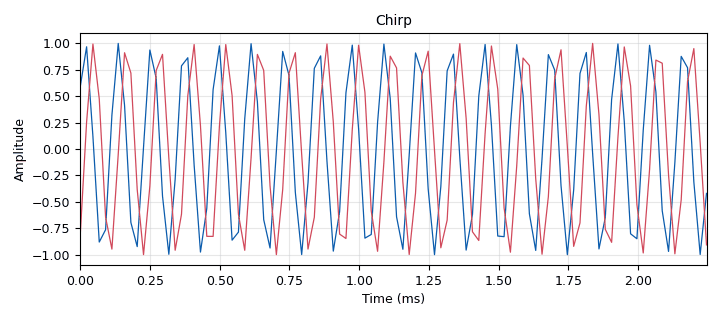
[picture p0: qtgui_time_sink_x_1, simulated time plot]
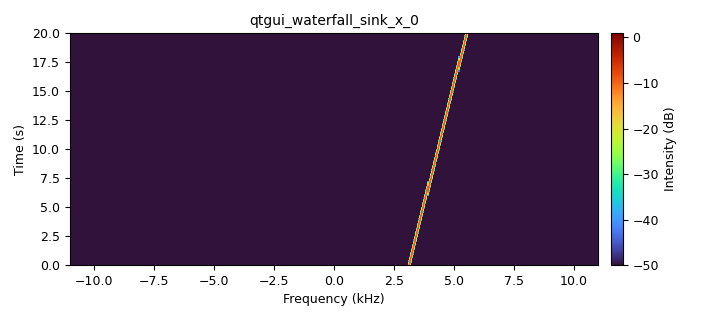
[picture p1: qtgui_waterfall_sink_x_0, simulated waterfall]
options:
  parameters:
    generate_options: qt_gui
    id: chirp_float_wrap
    output_language: python
    title: Chirp floating point wrap around
  states: {}

blocks:
- name: samp_rate
  id: variable
  parameters:
    value: '44100'
  states: {}
- name: analog_sig_source_x_0
  id: analog_sig_source_x
  parameters:
    amp: util.np.pi/2-util.np.pi/16
    freq: '0.05'
    offset: util.np.pi/16
    phase: '0'
    samp_rate: samp_rate
    type: float
    waveform: analog.GR_SAW_WAVE
  states: {}
- name: blocks_throttle2_0
  id: blocks_throttle2
  parameters:
    samples_per_second: samp_rate
    type: float
  states: {}
- name: epy_block_0
  id: epy_block
  parameters:
    _source_code: |
      """
      Chirp Generator Block:

      Generates a chirp waveform when given an angle increment
      """

      import numpy as np
      from gnuradio import gr


      class blk(gr.sync_block): 
          """Chirp Generator"""

          def __init__(self):  
              """arguments to this function show up as parameters in GRC"""
              gr.sync_block.__init__(
                  self,
                  name='Chirp Generator', 
                  in_sig=[np.float32],
                  out_sig=[np.complex64]
              )
              self.start_angle_rad=0.0

          def work(self, input_items, output_items):

              #angle increment
              input_angle_delta_rad = input_items[0]
              
              #Make sure the ending angle is added to the start of each block to keep the chirp continuous
              input_angle_delta_rad[0] =  self.start_angle_rad + input_angle_delta_rad[0]
              #add the deltas together to get the actual angle
              input_angle_rad = np.cumsum(input_angle_delta_rad)
             
              # Compute the complex exponential
              output_values = np.exp(1j * input_angle_rad)
         
              #prevent overflow of the angle
              self.start_angle_rad = (input_angle_rad[len(input_angle_rad)-1] + np.pi) % (2 * np.pi) - np.pi
              
              if len(output_items[0]) != len(output_values):
                  print(f"ERROR: output_items[0] len = {len(output_items[0])}, output_values len = {len(output_values)}")  
                  
              # Determine the output based on the output data type
              if output_items[0].dtype == np.float32:
                  # Output the real part of the complex exponential
                  output_items[0][:] = np.real(output_values).astype(np.float32)
              elif output_items[0].dtype == np.complex64:
                  # Output the full complex exponential
                  output_items[0][:] = output_values.astype(np.complex64)
              else:
                  # Handle unsupported data types
                  raise ValueError(f"Unsupported output data type: {output_items[0].dtype}")
              
              return len(output_items[0])
  states: {}
- name: qtgui_time_sink_x_1
  id: qtgui_time_sink_x
  parameters:
    autoscale: 'True'
    entags: 'False'
    gui_hint: '[2,0,1,1]'
    legend: 'False'
    name: Chirp
    size: '100'
    srate: samp_rate
    type: complex
  states: {}
- name: qtgui_waterfall_sink_x_0
  id: qtgui_waterfall_sink_x
  parameters:
    bw: samp_rate/2
    fc: '0'
    fftsize: '1024'
    gui_hint: '[0, 0, 2, 1]'
    int_max: '1'
    int_min: '-50'
    type: complex
  states: {}
- name: util
  id: epy_module
  parameters:
    source_code: |
      # this module will be imported in the into your flowgraph
      import numpy as np
  states: {}

connections:
- [analog_sig_source_x_0, '0', blocks_throttle2_0, '0']
- [blocks_throttle2_0, '0', epy_block_0, '0']
- [epy_block_0, '0', qtgui_time_sink_x_1, '0']
- [epy_block_0, '0', qtgui_waterfall_sink_x_0, '0']

metadata:
  file_format: 1
  grc_version: 3.10.9.2
